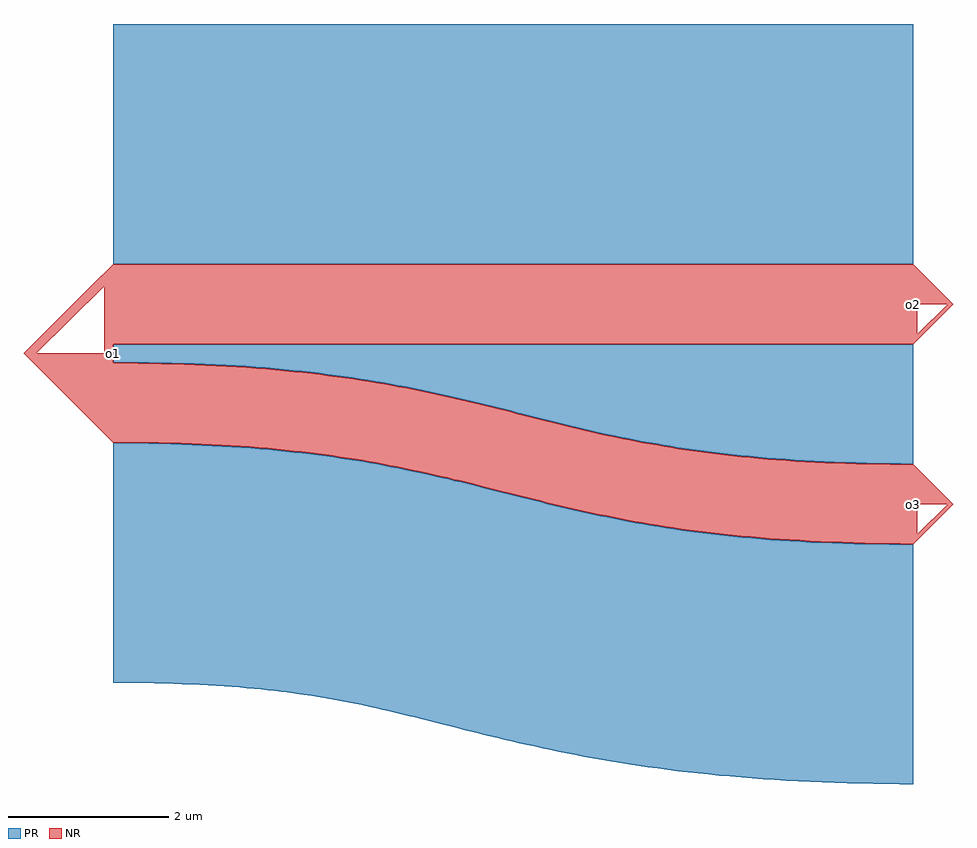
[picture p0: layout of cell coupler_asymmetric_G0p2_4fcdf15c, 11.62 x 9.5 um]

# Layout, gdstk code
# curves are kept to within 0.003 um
import gdstk
lib = gdstk.Library(unit=1e-6, precision=1e-09)
def R(c, l, rs):  # rectangles x0, y0, x1, y1
    for r in rs: c.add(gdstk.rectangle(r[:2], r[2:], *l))
def P(c, l, *ps):  # polygons
    for p in ps: c.add(gdstk.Polygon(p, *l))
PR = (60, 0)
NR = (61, 0)

unnamed_0_1 = lib.new_cell('Unnamed_0$1')

ng_6 = lib.new_cell('ng_6')
R(ng_6, NR, [(0,0.117,10,1.117)])
P(ng_6, NR, [(9.846,-2.383),(9.119,-2.369),(8.848,-2.359),(8.335,-2.33),(7.86,-2.291),(7.635,-2.268),(7.208,-2.216),(6.907,-2.172),(6.62,-2.125),(6.345,-2.074),(5.827,-1.966),(5.421,-1.871),(4.343,-1.601),(3.714,-1.458),(3.12,-1.345),(2.56,-1.262),(1.936,-1.195),(1.357,-1.153),(0.714,-1.126),(0,-1.117),(0,-0.117),(0.599,-0.123),(1.284,-0.148),(1.665,-0.17),(1.907,-0.189),(2.14,-0.209),(2.582,-0.257),(2.894,-0.298),(3.19,-0.343),(3.565,-0.409),(3.919,-0.479),(4.579,-0.629),(5.657,-0.899),(6.126,-1.008),(6.534,-1.092),(7.06,-1.184),(7.342,-1.225),(7.64,-1.262),(8.064,-1.305),(8.404,-1.332),(8.767,-1.354),(9.152,-1.37),(9.563,-1.38),(10,-1.383),(10,-2.383)])

ps_8 = lib.new_cell('ps_8')
R(ps_8, PR, [(0,1.117,10,4.117)])
P(ps_8, PR, [(9.851,-1.383),(9.152,-1.37),(8.767,-1.354),(8.289,-1.324),(7.64,-1.262),(7.342,-1.225),(7.06,-1.184),(6.534,-1.092),(6.126,-1.008),(5.657,-0.899),(4.579,-0.629),(3.919,-0.479),(3.565,-0.409),(3.19,-0.343),(2.894,-0.298),(2.582,-0.257),(2.14,-0.209),(1.907,-0.189),(1.665,-0.17),(1.284,-0.148),(0.599,-0.123),(0,-0.117),(0,0.117),(10,0.117),(10,-1.383)],
  [(9.83,-5.383),(9.177,-5.372),(8.416,-5.341),(7.987,-5.312),(7.576,-5.277),(6.93,-5.205),(6.685,-5.172),(6.216,-5.099),(5.776,-5.02),(5.465,-4.957),(5.17,-4.893),(4.713,-4.786),(3.704,-4.533),(3.363,-4.452),(3.031,-4.38),(2.552,-4.292),(2.017,-4.218),(1.671,-4.183),(1.289,-4.154),(0.974,-4.137),(0.633,-4.125),(0,-4.117),(0,-1.117),(0.437,-1.12),(0.848,-1.13),(1.233,-1.146),(1.596,-1.168),(1.936,-1.195),(2.36,-1.238),(2.658,-1.275),(2.94,-1.316),(3.466,-1.408),(3.874,-1.492),(4.343,-1.601),(5.421,-1.871),(6.081,-2.021),(6.435,-2.091),(6.81,-2.157),(7.106,-2.202),(7.418,-2.243),(7.86,-2.291),(8.093,-2.311),(8.335,-2.33),(8.716,-2.352),(9.401,-2.377),(10,-2.383),(10,-5.383)])

coupler_asymmetric_g0p2_ = lib.new_cell('coupler_asymmetric_G0p2_4fcdf15c')
P(coupler_asymmetric_g0p2_, NR, [(10,-2.383),(10,-1.883),(10.05,-1.883),(10.05,-2.258),(10.43,-1.883),(10,-1.883),(10,-1.383),(10.5,-1.883)],
  [(10,0.117),(10,0.617),(10.05,0.617),(10.05,0.242),(10.43,0.617),(10,0.617),(10,1.117),(10.5,0.617)],
  [(0,-1.117),(-1.117,0),(-0.279,0.838),(-0.111,0.838),(-0.96,0),(-0.111,0),(-0.111,0.838),(-0.279,0.838),(0,1.117)])
coupler_asymmetric_g0p2_.add(gdstk.Reference(unnamed_0_1, (0,0)))
coupler_asymmetric_g0p2_.add(gdstk.Reference(ng_6, (0,0)))
coupler_asymmetric_g0p2_.add(gdstk.Reference(ps_8, (0,0)))
coupler_asymmetric_g0p2_.add(gdstk.Label('o3', (10,-1.883), layer=61, texttype=0))
coupler_asymmetric_g0p2_.add(gdstk.Label('o2', (10,0.617), layer=61, texttype=0))
coupler_asymmetric_g0p2_.add(gdstk.Label('o1', (0,0), layer=61, texttype=0))

lib.write_gds('coupler_asymmetric_G0p2_4fcdf15c.gds')
